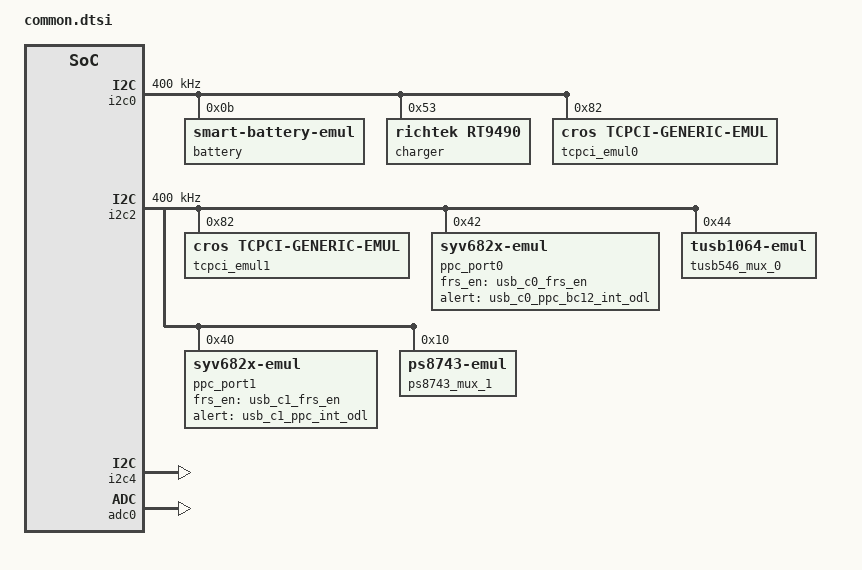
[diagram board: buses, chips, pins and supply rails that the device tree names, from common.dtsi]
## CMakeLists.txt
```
# Copyright 2023 The ChromiumOS Authors
# Use of this source code is governed by a BSD-style license that can be
# found in the LICENSE file.

cmake_minimum_required(VERSION 3.13.1)
find_package(Zephyr REQUIRED HINTS "${ZEPHYR_BASE}")
project(geralt)

add_subdirectory(${PLATFORM_EC}/zephyr/test/test_utils test_utils)

zephyr_include_directories(
	"${PLATFORM_EC_PROGRAM_DIR}/geralt/include"
	include)

target_sources(app PRIVATE
	${PLATFORM_EC_PROGRAM_DIR}/geralt/src/base_detect.c
	${PLATFORM_EC_PROGRAM_DIR}/geralt/src/usbc_config.c
	${PLATFORM_EC_PROGRAM_DIR}/geralt/src/usb_pd_policy.c)

target_sources_ifdef(CONFIG_TEST_GERALT
	app PRIVATE
	src/base_detect.c
	src/common.c
	src/fakes.c
	src/main.c
	src/usbc_config.c)

target_sources_ifdef(CONFIG_TEST_CIRI
	app PRIVATE
	src/fakes.c
	src/board_ciri.c
	${PLATFORM_EC_PROGRAM_DIR}/geralt/ciri/src/board_config.c)
```

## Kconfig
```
# Copyright 2023 The ChromiumOS Authors
# Use of this source code is governed by a BSD-style license that can be
# found in the LICENSE file.

choice
	prompt "select the test suite"

config TEST_GERALT
	bool "Run the tests intended for geralt"
	help
	  Run the tests for geralt common code.
endchoice

config TEST_CIRI
	bool "Run the tests intended for ciri"
	help
	  Include board_ciri test into the binary to test
	  board_config.c.

source "Kconfig.zephyr"
```

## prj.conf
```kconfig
# Copyright 2023 The ChromiumOS Authors
# Use of this source code is governed by a BSD-style license that can be
# found in the LICENSE file.

CONFIG_ZTEST=y
CONFIG_ZTEST_ASSERT_VERBOSE=1

CONFIG_ASSERT=y
CONFIG_ADC=y
CONFIG_CROS_EC=y
CONFIG_EMUL=y

CONFIG_SHIMMED_TASKS=n

CONFIG_PLATFORM_EC=y
CONFIG_PLATFORM_EC_BACKLIGHT_LID=n
CONFIG_PLATFORM_EC_BASE_ATTACHED_SWITCH=y
CONFIG_PLATFORM_EC_BATTERY_FUEL_GAUGE=y
CONFIG_PLATFORM_EC_CHARGER=y
CONFIG_PLATFORM_EC_CHARGER_SENSE_RESISTOR=10
CONFIG_PLATFORM_EC_CHARGER_SENSE_RESISTOR_AC=20
CONFIG_PLATFORM_EC_CHARGE_MANAGER=y
CONFIG_PLATFORM_EC_CHARGE_RAMP_HW=y
CONFIG_PLATFORM_EC_DETACHABLE_BASE=y
CONFIG_PLATFORM_EC_GPIO_INIT_PRIORITY=49
CONFIG_PLATFORM_EC_HOOKS=y
CONFIG_PLATFORM_EC_HOSTCMD=y
CONFIG_PLATFORM_EC_LID_SWITCH=y
CONFIG_PLATFORM_EC_POWERSEQ_HOST_SLEEP=y
CONFIG_PLATFORM_EC_POWER_BUTTON=y
CONFIG_PLATFORM_EC_POWER_SLEEP_FAILURE_DETECTION=y
CONFIG_PLATFORM_EC_SWITCH=n
CONFIG_PLATFORM_EC_TABLET_MODE=y
CONFIG_PLATFORM_EC_USBC=y
CONFIG_PLATFORM_EC_USB_CHARGER=n
CONFIG_PLATFORM_EC_USB_DRP_ACC_TRYSRC=y
CONFIG_PLATFORM_EC_USB_PD_DISCHARGE=y
CONFIG_PLATFORM_EC_USB_PD_DISCHARGE_PPC=y
CONFIG_PLATFORM_EC_USB_PD_VBUS_MEASURE_ADC_EACH_PORT=y
CONFIG_PLATFORM_EC_USB_POWER_DELIVERY=y
CONFIG_PLATFORM_EC_VBOOT_HASH=n

CONFIG_AP_ARM_MTK_MT8188=y
CONFIG_PLATFORM_EC_CHIPSET_RESUME_INIT_HOOK=y
CONFIG_PLATFORM_EC_EXTPOWER_GPIO=y
CONFIG_PLATFORM_EC_POWERSEQ=y
CONFIG_PLATFORM_EC_POWERSEQ_PP5000_CONTROL=n

CONFIG_PLATFORM_EC_USBC_PPC=y

CONFIG_UART_NATIVE_PTY_0_ON_STDINOUT=y
```

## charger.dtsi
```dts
/ {
	usbc {
		port0@0 {
			chg = <&charger>;
		};
	};

	batteries {
		default_battery: lgc_ac17a8m {
			compatible = "lgc,ac17a8m", "battery-smart";
			/**
			 * this has to be strictly lower than the desired
			 * voltage in smart battery emulator (5000mV).
			 */
			voltage_min = <4000>;
		};
	};
};
```

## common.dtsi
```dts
/* Copyright 2023 The ChromiumOS Authors
 * Use of this source code is governed by a BSD-style license that can be
 * found in the LICENSE file.
 */

#include <it8xxx2_emul.dts>

/ {
	pinctrl: pinctrl {
		compatible = "ite,it8xxx2-pinctrl";
		status = "disabled";
	};

	named-gpios {
		usb_c0_frs_en: usb-c0-frs-en {
			gpios = <&gpioa 3 GPIO_OUTPUT_LOW>;
		};
	};

	named-i2c-ports {
		compatible = "named-i2c-ports";

		battery {
			i2c-port = <&i2c0>;
			remote-port = <1>;
			enum-names = "I2C_PORT_BATTERY",
				"I2C_PORT_VIRTUAL_BATTERY";
		};
		i2c_charger: charger {
			i2c-port = <&i2c0>;
			enum-names = "I2C_PORT_CHARGER",
				"I2C_PORT_EEPROM";
		};
		i2c_sensor: sensor {
			i2c-port = <&i2c2>;
			enum-names = "I2C_PORT_SENSOR";
		};
		i2c_usb_c: usb-c {
			i2c-port = <&i2c2>;
			enum-names = "I2C_PORT_USB_C";
		};
		i2c_detachable_base: detachable-base {
			i2c-port = <&i2c4>;
			enum-names = "I2C_PORT_DETACHABLE_BASE";
		};
	};

	usbc {
		#address-cells = <1>;
		#size-cells = <0>;

		port0@0 {
			compatible = "named-usbc-port";
			status = "okay";
			reg = <0>;
			chg = <&charger>;
			tcpc = <&tcpci_emul0>;
			ppc = <&ppc_port0>;
			usb-mux-chain-0 {
				compatible = "cros-ec,usb-mux-chain";
				usb-muxes = <&tusb546_mux_0 &virtual_mux_0>;
			};
		};
		port0-muxes {
			virtual_mux_0: virtual-mux-0 {
				compatible = "cros-ec,usbc-mux-virtual";
			};
		};

		port1@1 {
			compatible = "named-usbc-port";
			status = "okay";
			reg = <1>;
			tcpc = <&tcpci_emul1>;
			ppc = <&ppc_port1>;
			usb-mux-chain-1 {
				compatible = "cros-ec,usb-mux-chain";
				usb-muxes = <&ps8743_mux_1 &virtual_mux_1>;
			};
		};
		port1-muxes {
			virtual_mux_1: virtual-mux-1 {
				compatible = "cros-ec,usbc-mux-virtual";
			};
		};
	};

	batteries {
		default_battery: lgc_ac17a8m {
			compatible = "lgc,ac17a8m", "battery-smart";
			/**
			 * this has to be strictly lower than the desired
			 * voltage in smart battery emulator (5000mV).
			 */
			voltage_min = <4000>;
		};
	};

	named-adc-channels {
		compatible = "named-adc-channels";

		adc_vbus_c0 {
			enum-name = "ADC_VBUS_C0";
			io-channels = <&adc0 0>;
			mul = <10>;
		};
		adc_board_id0 {
			enum-name = "ADC_BOARD_ID_0";
			io-channels = <&adc0 1>;
		};
		adc_board_id1 {
			enum-name = "ADC_BOARD_ID_1";
			io-channels = <&adc0 2>;
		};
		adc_base_det: adc-base-det {
			enum-name = "ADC_BASE_DET";
			io-channels = <&adc0 5>;
		};
		adc_vbus_c1 {
			enum-name = "ADC_VBUS_C1";
			io-channels = <&adc0 7>;
			mul = <10>;
		};
		adc_charger: charger {
			enum-name = "ADC_TEMP_SENSOR_CHARGER";
			io-channels = <&adc0 6>;
		};
	};
};

&i2c0 {
	/* I2C_BATTERY */
	battery: sb@b {
		compatible = "zephyr,smart-battery-emul";
		reg = <0xb>;
		cycle-count = <99>;
		version = "BATTERY_SPEC_VER_1_1_WITH_PEC";
		/* Real battery voltages are multiples of 4.4V. */
		desired-charg-volt = <5000>;
		desired-charg-cur = <1000>;
		mf-name = "LGC";
		dev-name = "AC17A8M";
	};

	/* I2C_PWR_CBI */
	status = "okay";
	clock-frequency = <I2C_BITRATE_FAST>;

	charger: rt9490@53 {
		compatible = "richtek,rt9490", "zephyr,rt9490-emul";
		status = "okay";
		reg = <0x53>;
	};

	tcpci_emul0: tcpci_emul@82 {
		compatible = "cros,tcpci-generic-emul";
		status = "okay";
		reg = <0x82>;
	};
};

&i2c2 {
	/* I2C_USB_C */
	status = "okay";
	clock-frequency = <I2C_BITRATE_FAST>;
	/delete-property/ fifo-enable;

	tcpci_emul1: tcpci_emul@82 {
		compatible = "cros,tcpci-generic-emul";
		status = "okay";
		reg = <0x82>;
	};

	ppc_port0: rt1739@70 {
		compatible = "zephyr,syv682x-emul";
		status = "okay";
		reg = <0x42>;
		frs_en_gpio = <&usb_c0_frs_en>;
		alert_gpio = <&usb_c0_ppc_bc12_int_odl>;
	};

	tusb546_mux_0: tusb546-mux-0@44 {
		compatible = "zephyr,tusb1064-emul";
		reg = <0x44>;
	};

	ppc_port1: syv682x@40 {
		compatible = "zephyr,syv682x-emul";
		status = "okay";
		reg = <0x40>;
		frs_en_gpio = <&usb_c1_frs_en>;
		alert_gpio = <&usb_c1_ppc_int_odl>;
	};

	ps8743_mux_1: ps8743-mux-1@10 {
		compatible = "zephyr,ps8743-emul";
		reg = <0x10>;
		// board-init = "ps8743_eq_c1_setting";
	};
};

/* TODO(b/260377762): peripheral mode */
&i2c4 {
	/* I2C_DETACHABLE_BASE */
	status = "okay";
};

&adc0 {
	status = "okay";
};
```

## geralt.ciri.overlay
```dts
/* Copyright 2024 The ChromiumOS Authors
 * Use of this source code is governed by a BSD-style license that can be
 * found in the LICENSE file.
 */

#include "common.dtsi"
#include "../program/geralt/gpio.dtsi"
#include "../program/geralt/interrupts.dtsi"
#include "../program/geralt/power_signal.dtsi"

/* remove pinctrl to avoid pull in too many unwanted dependency */
/delete-node/ &pinctrl;

/delete-node/ &int_volume_up;
/delete-node/ &int_volume_down;
/delete-node/ &int_spi0_cs;
/delete-node/ &int_ccd_mode_odl;
/delete-node/ &int_lid_360;

/* no need to maintain the unused-pins list in test code */
/delete-node/ &{/unused-pins};

/ {
	aliases {
		bmi3xx-int = &lid_accel;
		lsm6dsm-int = &lid_accel;
	};

	gpio-interrupts {
        int_lid_imu: lid-imu {
			irq-pin = <&lid_imu_int_l>;
			flags = <GPIO_INT_EDGE_FALLING>;
			handler = "motion_interrupt";
		};
	};

	motionsense-sensor-data {
		lsm6dsm_data_accel: lsm6dsm-accel-drv-data {
			compatible = "cros-ec,drvdata-lsm6dsm";
			status = "okay";
		};
		lsm6dsm_data_gyro: lsm6dsm-gyro-drv-data {
			compatible = "cros-ec,drvdata-lsm6dsm";
			status = "okay";
		};
		bmi323_data: bmi3xx-drv-data {
			compatible = "cros-ec,drvdata-bmi3xx";
			status = "okay";
		};
	};

	motionsense-sensor {
		lid_accel: lid-accel {
			compatible = "cros-ec,bmi3xx-accel";
			status = "okay";

			active-mask = "SENSOR_ACTIVE_S0";
			location = "MOTIONSENSE_LOC_LID";
			drv-data = <&bmi323_data>;
		};

		lid_gyro: lid-gyro {
			compatible = "cros-ec,bmi3xx-gyro";
			status = "okay";

			active-mask = "SENSOR_ACTIVE_S0";
			location = "MOTIONSENSE_LOC_LID";
			drv-data = <&bmi323_data>;
		};
	};

	motionsense-sensor-alt {
		alt_lid_accel: alt-lid-accel {
			compatible = "cros-ec,lsm6dsm-accel";
			status = "okay";

			active-mask = "SENSOR_ACTIVE_S0";
			location = "MOTIONSENSE_LOC_LID";
		};

		alt_lid_gyro: alt-lid-gyro {
			compatible = "cros-ec,lsm6dsm-gyro";
			status = "okay";

			active-mask = "SENSOR_ACTIVE_S0";
			location = "MOTIONSENSE_LOC_LID";
		};
	};

	motionsense-sensor-info {
		compatible = "cros-ec,motionsense-sensor-info";

		sensor-irqs = <&int_lid_imu>;
	};

	ciri-ssfc {
		compatible = "cros-ec,cbi-ssfc";

		/* SSFC field to identify LID motion sensor. */
		lid-sensor {
			enum-name = "LID_SENSOR";
			size = <3>;

			lid_sensor_0: bmi323 {
				compatible = "cros-ec,cbi-ssfc-value";
				status = "okay";
				value = <1>;
			};
			lid_sensor_1: lsm6dsm {
				compatible = "cros-ec,cbi-ssfc-value";
				status = "okay";
				value = <2>;
				default;
			};
		};
	};
};
```

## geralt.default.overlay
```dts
/* Copyright 2023 The ChromiumOS Authors
 * Use of this source code is governed by a BSD-style license that can be
 * found in the LICENSE file.
 */

#include "common.dtsi"
#include "charger.dtsi"
#include "../program/geralt/gpio.dtsi"
#include "../program/geralt/interrupts.dtsi"
#include "../program/geralt/power_signal.dtsi"

/* remove pinctrl to avoid pull in too many unwanted dependency */
/delete-node/ &pinctrl;

/delete-node/ &int_volume_up;
/delete-node/ &int_volume_down;
/delete-node/ &int_spi0_cs;
/delete-node/ &int_ccd_mode_odl;
/delete-node/ &int_lid_360;
/delete-node/ &int_lid_imu;

/* no need to maintain the unused-pins list in test code */
/delete-node/ &{/unused-pins};

/* open-drain is not supported in gpio emul, re-config to push-pull  */
&ec_pmic_en_odl {
	gpios = <&gpiod 0 (GPIO_OUTPUT_HIGH | GPIO_INPUT | GPIO_VOLTAGE_1P8)>;
};
&sys_rst_odl {
	gpios = <&gpiog 1 GPIO_OUTPUT_LOW>;
};

/* set default gpio-emul state */
&power_button_l {
	gpios = <&gpioe 4 (GPIO_INPUT | GPIO_PULL_UP)>;
};
```

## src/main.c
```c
/* Copyright 2023 The ChromiumOS Authors
 * Use of this source code is governed by a BSD-style license that can be
 * found in the LICENSE file.
 */

#include "ec_app_main.h"
#include "test_state.h"

#include <zephyr/kernel.h>
#include <zephyr/ztest.h>

bool geralt_predicate_post_main(const void *state)
{
	return ((struct test_state *)state)->ec_app_main_run;
}

void test_main(void)
{
	struct test_state state = {
		.ec_app_main_run = false,
	};

	/* Run all the suites that depend on main not being called yet */
	ztest_run_test_suites(&state, false, 1, 1);

	ec_app_main();

	state.ec_app_main_run = true;

	/* Run all the suites that depend on main being called */
	ztest_run_test_suites(&state, false, 1, 1);

	/* Check that every suite ran */
	ztest_verify_all_test_suites_ran();
}
```

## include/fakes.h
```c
/* Copyright 2024 The ChromiumOS Authors
 * Use of this source code is governed by a BSD-style license that can be
 * found in the LICENSE file.
 */
#include "battery.h"

#include <zephyr/fff.h>

DECLARE_FAKE_VALUE_FUNC(enum battery_present, battery_is_present);
```

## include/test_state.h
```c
/* Copyright 2023 The ChromiumOS Authors
 * Use of this source code is governed by a BSD-style license that can be
 * found in the LICENSE file.
 */

#ifndef ZEPHYR_TEST_GERALT_INCLUDE_TEST_STATE_H_
#define ZEPHYR_TEST_GERALT_INCLUDE_TEST_STATE_H_

#include <stdbool.h>

struct test_state {
	bool ec_app_main_run;
};

bool geralt_predicate_post_main(const void *state);

#endif /* ZEPHYR_TEST_AP_POWER_INCLUDE_TEST_STATE_H_ */
```

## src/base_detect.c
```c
/* Copyright 2024 The ChromiumOS Authors
 * Use of this source code is governed by a BSD-style license that can be
 * found in the LICENSE file.
 */
#include "base_state.h"
#include "hooks.h"
#include "test_state.h"

#include <zephyr/devicetree/io-channels.h>
#include <zephyr/drivers/adc/adc_emul.h>
#include <zephyr/kernel.h>
#include <zephyr/ztest.h>

static void set_base_detect_adc(int voltage)
{
	const struct device *adc_dev =
		DEVICE_DT_GET(DT_IO_CHANNELS_CTLR(DT_NODELABEL(adc_base_det)));
	const int channel = DT_IO_CHANNELS_INPUT(DT_NODELABEL(adc_base_det));

	adc_emul_const_value_set(adc_dev, channel, voltage);
}

ZTEST(base_detect, test_init_attach_detach)
{
	set_base_detect_adc(0);
	k_sleep(K_SECONDS(1));
	hook_notify(HOOK_INIT);
	zassert_true(base_get_state());

	set_base_detect_adc(3300);
	k_sleep(K_SECONDS(1));
	hook_notify(HOOK_INIT);
	zassert_false(base_get_state());
}

ZTEST(base_detect, test_s0_attach_detach)
{
	hook_notify(HOOK_CHIPSET_STARTUP);
	k_sleep(K_SECONDS(1));

	set_base_detect_adc(0);
	k_sleep(K_SECONDS(1));
	zassert_true(base_get_state());

	set_base_detect_adc(3300);
	k_sleep(K_SECONDS(1));
	zassert_false(base_get_state());
}

ZTEST(base_detect, test_g3_attach_detach)
{
	hook_notify(HOOK_CHIPSET_SHUTDOWN);
	k_sleep(K_SECONDS(1));

	/* base is always detached in g3 */
	set_base_detect_adc(0);
	k_sleep(K_SECONDS(1));
	zassert_false(base_get_state());

	set_base_detect_adc(3300);
	k_sleep(K_SECONDS(1));
	zassert_false(base_get_state());
}

ZTEST(base_detect, test_force_state)
{
	base_force_state(EC_SET_BASE_STATE_ATTACH);

	/* after base_force_state(), adc should not change base state */
	set_base_detect_adc(3300);
	k_sleep(K_SECONDS(1));
	zassert_true(base_get_state());

	base_force_state(EC_SET_BASE_STATE_DETACH);

	/* after base_force_state(), adc should not change base state */
	set_base_detect_adc(0);
	k_sleep(K_SECONDS(1));
	zassert_false(base_get_state());
}

static void base_state_before(void *fixture)
{
	set_base_detect_adc(3300);
	base_force_state(EC_SET_BASE_STATE_RESET);
	k_sleep(K_SECONDS(1));
}

ZTEST_SUITE(base_detect, geralt_predicate_post_main, NULL, base_state_before,
	    NULL, NULL);
```

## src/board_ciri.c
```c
/* Copyright 2024 The ChromiumOS Authors
 * Use of this source code is governed by a BSD-style license that can be
 * found in the LICENSE file.
 */

#include "cros_board_info.h"
#include "cros_cbi.h"
#include "gpio_signal.h"
#include "hooks.h"
#include "motion_sense.h"
#include "zephyr/kernel.h"

#include <zephyr/drivers/gpio/gpio_emul.h>
#include <zephyr/fff.h>
#include <zephyr/ztest.h>

#define SSFC_LID_MAIN_SENSOR (0x1)
#define SSFC_LID_ALT_SENSOR (0x1 << 1)

FAKE_VALUE_FUNC(int, cbi_get_ssfc, uint32_t *);

static int interrupt_id;
static int ssfc_data;

static void reset(void)
{
	/* Re-initialize CBI */
	cros_cbi_ec_init();

	/* Re-initialize sensors and board config */
	hook_notify(HOOK_INIT);
}

static int cbi_get_ssfc_mock(uint32_t *ssfc)
{
	*ssfc = ssfc_data;
	return 0;
}

void bmi3xx_interrupt(enum gpio_signal signal)
{
	interrupt_id = 1;
}

void lsm6dsm_interrupt(enum gpio_signal signal)
{
	interrupt_id = 2;
}

static void *alt_sensor_use_setup(void)
{
	const struct device *wp_gpio =
		DEVICE_DT_GET(DT_GPIO_CTLR(DT_ALIAS(gpio_wp), gpios));
	const gpio_port_pins_t wp_pin = DT_GPIO_PIN(DT_ALIAS(gpio_wp), gpios);

	/* Make sure that write protect is disabled */
	zassert_ok(gpio_emul_input_set(wp_gpio, wp_pin, 1), NULL);
	/* Set SSFC to enable alt sensors. */
	cbi_get_ssfc_fake.custom_fake = cbi_get_ssfc_mock;
	ssfc_data = SSFC_LID_ALT_SENSOR;
	/* Run init hooks to initialize cbi. */
	reset();

	return NULL;
}

ZTEST_SUITE(alt_sensor_use, NULL, alt_sensor_use_setup, NULL, NULL, NULL);

ZTEST(alt_sensor_use, test_alt_sensor_use)
{
	const struct device *lid_imu_gpio =
		DEVICE_DT_GET(DT_GPIO_CTLR(DT_NODELABEL(lid_imu_int_l), gpios));
	const gpio_port_pins_t lid_imu_pin =
		DT_GPIO_PIN(DT_NODELABEL(lid_imu_int_l), gpios);

	zassert_ok(gpio_emul_input_set(lid_imu_gpio, lid_imu_pin, 1), NULL);
	k_sleep(K_MSEC(100));
	zassert_ok(gpio_emul_input_set(lid_imu_gpio, lid_imu_pin, 0), NULL);
	k_sleep(K_MSEC(100));

	zassert_equal(interrupt_id, 2, "interrupt_id=%d", interrupt_id);
}

static void *alt_sensor_no_use_setup(void)
{
	const struct device *wp_gpio =
		DEVICE_DT_GET(DT_GPIO_CTLR(DT_ALIAS(gpio_wp), gpios));
	const gpio_port_pins_t wp_pin = DT_GPIO_PIN(DT_ALIAS(gpio_wp), gpios);

	/* Make sure that write protect is disabled */
	zassert_ok(gpio_emul_input_set(wp_gpio, wp_pin, 1), NULL);
	/* Set SSFC to disable alt sensors. */
	cbi_get_ssfc_fake.custom_fake = cbi_get_ssfc_mock;
	ssfc_data = SSFC_LID_MAIN_SENSOR;
	/* Run init hooks to initialize cbi. */
	reset();

	return NULL;
}

ZTEST_SUITE(alt_sensor_no_use, NULL, alt_sensor_no_use_setup, NULL, NULL, NULL);

ZTEST(alt_sensor_no_use, test_alt_sensor_no_use)
{
	const struct device *lid_imu_gpio =
		DEVICE_DT_GET(DT_GPIO_CTLR(DT_NODELABEL(lid_imu_int_l), gpios));
	const gpio_port_pins_t lid_imu_pin =
		DT_GPIO_PIN(DT_NODELABEL(lid_imu_int_l), gpios);

	zassert_ok(gpio_emul_input_set(lid_imu_gpio, lid_imu_pin, 1), NULL);
	k_sleep(K_MSEC(100));
	zassert_ok(gpio_emul_input_set(lid_imu_gpio, lid_imu_pin, 0), NULL);
	k_sleep(K_MSEC(100));

	zassert_equal(interrupt_id, 1, "interrupt_id=%d", interrupt_id);
}
```

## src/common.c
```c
/* Copyright 2023 The ChromiumOS Authors
 * Use of this source code is governed by a BSD-style license that can be
 * found in the LICENSE file.
 */

#include "adc.h"
#include "battery.h"
#include "charge_manager.h"
#include "driver/ppc/syv682x.h"
#include "driver/ppc/syv682x_public.h"
#include "emul/emul_common_i2c.h"
#include "emul/emul_syv682x.h"
#include "fakes.h"
#include "i2c/i2c.h"
#include "test_state.h"
#include "usb_pd.h"
#include "usb_pd_policy.h"
#include "usbc_ppc.h"

#include <zephyr/devicetree.h>
#include <zephyr/drivers/emul.h>
#include <zephyr/fff.h>
#include <zephyr/ztest.h>

ZTEST(geralt_common, test_none)
{
	/* placeholder test */
}

ZTEST(geralt_common, test_port_frs_disable_until_source_on)
{
	for (int i = 0; i < CONFIG_USB_PD_PORT_MAX_COUNT; i++) {
		/* all ports delay the FRS disabled pins */
		zassert_true(port_frs_disable_until_source_on(i));
	}
}

static void geralt_common_before(void *fixture)
{
}

ZTEST_SUITE(geralt_common, geralt_predicate_post_main, NULL,
	    geralt_common_before, NULL, NULL);
```

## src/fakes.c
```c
/* Copyright 2024 The ChromiumOS Authors
 * Use of this source code is governed by a BSD-style license that can be
 * found in the LICENSE file.
 */
#include "fakes.h"

DEFINE_FAKE_VALUE_FUNC(enum battery_present, battery_is_present);
```

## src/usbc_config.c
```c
/* Copyright 2023 The ChromiumOS Authors
 * Use of this source code is governed by a BSD-style license that can be
 * found in the LICENSE file.
 */

#include "adc.h"
#include "battery.h"
#include "charge_manager.h"
#include "driver/ppc/syv682x.h"
#include "driver/ppc/syv682x_public.h"
#include "emul/emul_common_i2c.h"
#include "emul/emul_syv682x.h"
#include "fakes.h"
#include "i2c/i2c.h"
#include "test_state.h"
#include "usb_pd.h"
#include "usbc_ppc.h"

#include <zephyr/devicetree.h>
#include <zephyr/drivers/emul.h>
#include <zephyr/fff.h>
#include <zephyr/ztest.h>

static bool ppc_sink_enabled(int port)
{
	const struct emul *emul = (port == 0) ?
					  EMUL_DT_GET(DT_NODELABEL(ppc_port0)) :
					  EMUL_DT_GET(DT_NODELABEL(ppc_port1));
	uint8_t val = 0;

	syv682x_emul_get_reg(emul, SYV682X_CONTROL_1_REG, &val);

	return !(val & (SYV682X_CONTROL_1_PWR_ENB | SYV682X_CONTROL_1_HV_DR));
}

ZTEST(usbc_config, test_set_active_charge_port)
{
	/* reset ppc state */
	zassert_ok(board_set_active_charge_port(CHARGE_PORT_NONE), NULL);
	zassert_false(ppc_sink_enabled(0), NULL);
	zassert_false(ppc_sink_enabled(1), NULL);

	/* sourcing port 0, expect port 0 not sinkable */
	zassert_ok(pd_set_power_supply_ready(0));
	zassert_not_equal(board_set_active_charge_port(0), 0, NULL);
	zassert_true(board_vbus_source_enabled(0), NULL);
	zassert_false(board_vbus_source_enabled(1), NULL);
	zassert_false(ppc_sink_enabled(0), NULL);
	zassert_false(ppc_sink_enabled(1), NULL);

	/* sinking port 1 */
	zassert_ok(board_set_active_charge_port(1), NULL);
	zassert_false(ppc_sink_enabled(0), NULL);
	zassert_true(ppc_sink_enabled(1), NULL);

	/*
	 * sinking an invalid port should return error and doesn't change
	 * any state
	 */
	zassert_not_equal(board_set_active_charge_port(2), 0, NULL);
	zassert_true(board_vbus_source_enabled(0), NULL);
	zassert_false(board_vbus_source_enabled(1), NULL);
	zassert_false(ppc_sink_enabled(0), NULL);
	zassert_true(ppc_sink_enabled(1), NULL);

	/* turn off sourcing, sinking port 0 */
	pd_power_supply_reset(0);
	zassert_ok(board_set_active_charge_port(0), NULL);
	zassert_true(ppc_sink_enabled(0), NULL);
	zassert_false(ppc_sink_enabled(1), NULL);

	/* sinking port 1 */
	zassert_ok(board_set_active_charge_port(1), NULL);
	zassert_false(ppc_sink_enabled(0), NULL);
	zassert_true(ppc_sink_enabled(1), NULL);

	/* back to port 0 */
	zassert_ok(board_set_active_charge_port(0), NULL);
	zassert_true(ppc_sink_enabled(0), NULL);
	zassert_false(ppc_sink_enabled(1), NULL);

	/* reset */
	zassert_ok(board_set_active_charge_port(CHARGE_PORT_NONE), NULL);
	zassert_false(board_vbus_source_enabled(0), NULL);
	zassert_false(board_vbus_source_enabled(1), NULL);
	zassert_false(ppc_sink_enabled(0), NULL);
	zassert_false(ppc_sink_enabled(1), NULL);
}

ZTEST(usbc_config, test_set_active_charge_port_fail)
{
	const struct emul *ppc0 = EMUL_DT_GET(DT_NODELABEL(ppc_port0));

	/* Verify that failure on ppc0 doesn't affect ppc1 */
	i2c_common_emul_set_write_fail_reg(
		emul_syv682x_get_i2c_common_data(ppc0),
		I2C_COMMON_EMUL_FAIL_ALL_REG);

	zassert_ok(board_set_active_charge_port(1), NULL);
	zassert_true(ppc_sink_enabled(1), NULL);
	zassert_ok(board_set_active_charge_port(CHARGE_PORT_NONE), NULL);
	zassert_false(ppc_sink_enabled(1), NULL);
	zassert_ok(board_set_active_charge_port(1), NULL);
	zassert_true(ppc_sink_enabled(1), NULL);

	/* trying to enable ppc0 results in error */
	zassert_not_equal(board_set_active_charge_port(0), 0, NULL);
	zassert_false(ppc_sink_enabled(1), NULL);
}

ZTEST(usbc_config, test_adc_channel)
{
	zassert_equal(board_get_vbus_adc(0), ADC_VBUS_C0, NULL);
	zassert_equal(board_get_vbus_adc(1), ADC_VBUS_C1, NULL);
	zassert_equal(board_get_vbus_adc(99), ADC_VBUS_C0, NULL);
}

static void geralt_usbc_config_before(void *fixture)
{
	const struct emul *ppc0 = EMUL_DT_GET(DT_NODELABEL(ppc_port0));
	const struct emul *ppc1 = EMUL_DT_GET(DT_NODELABEL(ppc_port1));

	i2c_common_emul_set_write_fail_reg(
		emul_syv682x_get_i2c_common_data(ppc0),
		I2C_COMMON_EMUL_NO_FAIL_REG);
	i2c_common_emul_set_write_fail_reg(
		emul_syv682x_get_i2c_common_data(ppc1),
		I2C_COMMON_EMUL_NO_FAIL_REG);

	board_set_active_charge_port(CHARGE_PORT_NONE);
}

ZTEST_SUITE(usbc_config, geralt_predicate_post_main, NULL,
	    geralt_usbc_config_before, NULL, NULL);
```
